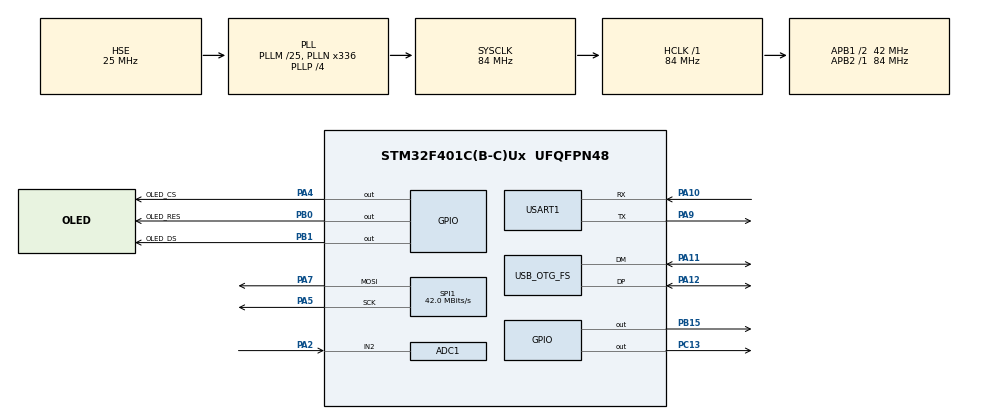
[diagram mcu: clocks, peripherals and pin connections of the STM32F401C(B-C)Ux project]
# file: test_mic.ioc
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ADC1.Channel-0\#ChannelRegularConversion=ADC_CHANNEL_2
ADC1.ClockPrescaler=ADC_CLOCK_SYNC_PCLK_DIV8
ADC1.ContinuousConvMode=DISABLE
ADC1.DMAContinuousRequests=ENABLE
ADC1.ExternalTrigConv=ADC_EXTERNALTRIGCONV_T3_TRGO
ADC1.NbrOfConversionFlag=1
ADC1.Rank-0\#ChannelRegularConversion=1
ADC1.SamplingTime-0\#ChannelRegularConversion=ADC_SAMPLETIME_3CYCLES
ADC1.master=1
Dma.ADC1.0.Direction=DMA_PERIPH_TO_MEMORY
Dma.ADC1.0.FIFOMode=DMA_FIFOMODE_DISABLE
Dma.ADC1.0.Instance=DMA2_Stream0
Dma.ADC1.0.MemDataAlignment=DMA_MDATAALIGN_HALFWORD
Dma.ADC1.0.MemInc=DMA_MINC_ENABLE
Dma.ADC1.0.Mode=DMA_CIRCULAR
Dma.ADC1.0.PeriphDataAlignment=DMA_PDATAALIGN_HALFWORD
Dma.ADC1.0.PeriphInc=DMA_PINC_DISABLE
Dma.ADC1.0.Priority=DMA_PRIORITY_LOW
Dma.Request0=ADC1
Mcu.Family=STM32F4
Mcu.Name=STM32F401C(B-C)Ux
Mcu.Package=UFQFPN48
NVIC.DMA2_Stream0_IRQn=true\:0\:0\:false\:false\:true\:false\:true
NVIC.OTG_FS_IRQn=true\:0\:0\:false\:false\:true\:false\:true
NVIC.PriorityGroup=NVIC_PRIORITYGROUP_4
NVIC.TIM2_IRQn=true\:0\:0\:false\:false\:true\:true\:true
NVIC.USART1_IRQn=true\:0\:0\:false\:false\:true\:true\:true
PA10.Mode=Asynchronous
PA10.Signal=USART1_RX
PA11.Mode=Device_Only
PA11.Signal=USB_OTG_FS_DM
PA12.Mode=Device_Only
PA12.Signal=USB_OTG_FS_DP
PA13.Mode=Serial_Wire
PA13.Signal=SYS_JTMS-SWDIO
PA14.Mode=Serial_Wire
PA14.Signal=SYS_JTCK-SWCLK
PA2.Signal=ADCx_IN2
PA4.GPIO_Label=OLED_CS
PA4.Signal=GPIO_Output
PA5.Mode=TX_Only_Simplex_Unidirect_Master
PA5.Signal=SPI1_SCK
PA7.Mode=TX_Only_Simplex_Unidirect_Master
PA7.Signal=SPI1_MOSI
PA9.Mode=Asynchronous
PA9.Signal=USART1_TX
PB0.GPIO_Label=OLED_RES
PB0.Signal=GPIO_Output
PB1.GPIO_Label=OLED_DS
PB1.Signal=GPIO_Output
PB15.GPIO_PuPd=GPIO_PULLUP
PB15.Signal=GPIO_Output
PC13-ANTI_TAMP.GPIO_PuPd=GPIO_PULLUP
PC13-ANTI_TAMP.Signal=GPIO_Output
PH0\ -\ OSC_IN.Mode=HSE-External-Oscillator
PH0\ -\ OSC_IN.Signal=RCC_OSC_IN
PH1\ -\ OSC_OUT.Mode=HSE-External-Oscillator
PH1\ -\ OSC_OUT.Signal=RCC_OSC_OUT
ProjectManager.HeapSize=0x400
ProjectManager.StackSize=0x400
ProjectManager.TargetToolchain=MDK-ARM V5.32
RCC.48MHZClocksFreq_Value=48000000
RCC.AHBFreq_Value=84000000
RCC.APB1CLKDivider=RCC_HCLK_DIV2
RCC.APB1Freq_Value=42000000
RCC.APB1TimFreq_Value=84000000
RCC.APB2Freq_Value=84000000
RCC.APB2TimFreq_Value=84000000
RCC.CortexFreq_Value=84000000
RCC.HCLKFreq_Value=84000000
RCC.HSE_VALUE=25000000
RCC.HSI_VALUE=16000000
RCC.LSE_VALUE=32768
RCC.PLLM=25
RCC.PLLN=336
RCC.PLLP=RCC_PLLP_DIV4
RCC.PLLQ=7
RCC.SYSCLKFreq_VALUE=84000000
RCC.SYSCLKSource=RCC_SYSCLKSOURCE_PLLCLK
RCC.VCOOutputFreq_Value=336000000
SH.ADCx_IN2.0=ADC1_IN2,IN2
SPI1.CalculateBaudRate=42.0 MBits/s
SPI1.Direction=SPI_DIRECTION_2LINES
SPI1.Mode=SPI_MODE_MASTER
SPI1.VirtualType=VM_MASTER
TIM2.AutoReloadPreload=TIM_AUTORELOAD_PRELOAD_ENABLE
TIM2.Period=9999
TIM2.Prescaler=83
TIM3.AutoReloadPreload=TIM_AUTORELOAD_PRELOAD_DISABLE
TIM3.Period=108
TIM3.Prescaler=0
TIM3.TIM_MasterOutputTrigger=TIM_TRGO_UPDATE
USART1.VirtualMode=VM_ASYNC
USB_DEVICE.CLASS_NAME_FS=AUDIO
USB_DEVICE.VirtualMode=Audio
USB_DEVICE.VirtualModeFS=Audio_FS
USB_OTG_FS.VirtualMode=Device_Only
VP_TIM2_VS_ClockSourceINT.Mode=Internal
VP_TIM3_VS_ClockSourceINT.Mode=Internal
VP_USB_DEVICE_VS_USB_DEVICE_AUDIO_FS.Mode=AUDIO_FS
board=custom

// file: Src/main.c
/* USER CODE BEGIN Header */
/**
  ******************************************************************************
  * @file           : main.c
  * @brief          : Main program body
  ******************************************************************************
  * @attention
  *
  * <h2><center>&copy; Copyright (c) 2024 STMicroelectronics.
  * All rights reserved.</center></h2>
  *
  * This software component is licensed by ST under BSD 3-Clause license,
  * the "License"; You may not use this file except in compliance with the
  * License. You may obtain a copy of the License at:
  *                        opensource.org/licenses/BSD-3-Clause
  *
  ******************************************************************************
  */
/* USER CODE END Header */
#include "main.h"
#include "adc.h"
#include "dma.h"
#include "spi.h"
#include "tim.h"
#include "usart.h"
#include "usb_device.h"
#include "gpio.h"

/* USER CODE BEGIN Includes */

#include "shell_port.h"
#include "u8g2.h"
#include "usbd_audio_if.h"
/* USER CODE END Includes */

/* USER CODE BEGIN PTD */

#include "stdio.h"
#include <stdarg.h>
#ifdef __GNUC__
#define PUTCHAR_PROTOTYPE int fputc(int ch, FILE *f)
#else
#define PUTCHAR_PROTOTYPE int __io_putchar(int ch)
#endif
PUTCHAR_PROTOTYPE
{
HAL_UART_Transmit(&huart1, (uint8_t *)&ch, 1 , 0xffff);
	//CDC_Transmit_FS((uint8_t *)&ch,1);
return ch;
}

uint8_t u8x8_stm32_gpio_and_delay(U8X8_UNUSED u8x8_t *u8x8,
    U8X8_UNUSED uint8_t msg, U8X8_UNUSED uint8_t arg_int,
    U8X8_UNUSED void *arg_ptr);
uint8_t u8x8_byte_4wire_hw_spi(u8x8_t *u8x8, uint8_t msg, uint8_t arg_int,
    void *arg_ptr);

/* USER CODE END PTD */

/* USER CODE BEGIN PD */

#define OSA_BUF_SIZE 16      /* ADC oversampling buffer. Make sure to state the correct
                                shift and offset amount in HAL_ADC_ConvCpltCallback() and
                                adjust the sampling frequency accordingly */
extern USBD_HandleTypeDef hUsbDeviceFS;
int16_t adc_buffer[OSA_BUF_SIZE * AUDIO_IN_PACKET / 2] = {0};

/* USER CODE END PD */

/* USER CODE BEGIN PV */

Shell shell;
uint8_t recv_buf = 0;
u8g2_t u8g2;
uint16_t temp_ADC_Value;
float adc_value ;

int oled_or_usb;

/* USER CODE END PV */

void SystemClock_Config(void);

/* USER CODE BEGIN 0 */

void HAL_ADC_ConvCpltCallback(ADC_HandleTypeDef* hadc) {

	USBD_AUDIO_HandleTypeDef *haudio = hUsbDeviceFS.pClassData;
	int16_t *buf_part = haudio->in_buffer + (AUDIO_IN_PACKET / 2) * haudio->in_buffer_half;  // USB mic buffer access

	/* Oversample for +2 bits */
	for (uint16_t i = 0; i < (AUDIO_IN_PACKET / 2); i++) {
  	int32_t avg_value = 0;
		for (uint16_t j = 0; j < OSA_BUF_SIZE; j++) {
			avg_value += adc_buffer[OSA_BUF_SIZE * i + j];
		}
    // bit shift for signed variables is undefined behaviour
		// Don't forget the mic amp offset: 0-1706, 1-3413, 2-6826
		buf_part[i] = (avg_value / 4) - 6826;

	}

	temp_ADC_Value=(buf_part[0]+6826);
//oled_or_usb=0;

}

void ADC_to_MIC(void)
{
	HAL_ADC_Start_DMA(&hadc1, (uint32_t*)adc_buffer, OSA_BUF_SIZE * (AUDIO_IN_PACKET / 2)); // Start ADC transfer into oversampling buffer
}

int u8g2_printf(u8g2_t *u8g2, u8g2_uint_t x, u8g2_uint_t y, const char *fmt,
...)
{
va_list ap;
va_start(ap, fmt);
int length;
char buffer[128];
length = vsnprintf(buffer, 128, fmt, ap);
u8g2_DrawStr(u8g2, x, y, buffer);
va_end(ap);
return length;
}

void hello(void)
{
    printf("hello letter shell!\n");
}

//导出到命令列表里
SHELL_EXPORT_CMD(SHELL_CMD_PERMISSION(0)|SHELL_CMD_TYPE(SHELL_TYPE_CMD_FUNC), hello, hello, test_hello);

uint8_t map(uint16_t _value)
{
    return 63 - ((_value * 3) >> 10);
}

void timer()
{

	//oled_or_usb=1;
		//HAL_ADC_Start_DMA(&hadc1,(uint32_t*)&temp_ADC_Value, 1);

	   static uint8_t phase = 0;
    static uint16_t waveform[128];
	waveform[phase++] = temp_ADC_Value;

 adc_value=temp_ADC_Value/16384.0f * 3.3f;

    if (phase == 128)
    {

        phase = 0;
			u8g2_FirstPage(&u8g2);
		do
		{
			u8g2_SetFont(&u8g2, u8g2_font_courR08_tf);
			u8g2_printf(&u8g2, 0, 8, "10KAD 7.8FPS V=%.2fV",adc_value);

        for (uint8_t i = 1; i != 128; ++i)
            u8g2_DrawLine(&u8g2, i - 1, map(waveform[i - 1]),i, map(waveform[i]));

			} while (u8g2_NextPage(&u8g2));

    }
}

/* USER CODE END 0 */

int main(void)
{

  /* MCU Configuration--------------------------------------------------------*/

  /* Reset of all peripherals, Initializes the Flash interface and the Systick. */
  HAL_Init();

  /* Configure the system clock */
  SystemClock_Config();

  /* Initialize all configured peripherals */
  MX_GPIO_Init();
  MX_USART1_UART_Init();
  MX_USB_DEVICE_Init();
  MX_SPI1_Init();
  MX_DMA_Init();
  MX_ADC1_Init();
  MX_TIM2_Init();
  MX_TIM3_Init();
  /* USER CODE BEGIN 2 */
  HAL_TIM_Base_Start_IT(&htim2);
  HAL_TIM_Base_Start(&htim3);
	//HAL_TIM_PWM_Start(&htim3,TIM_CHANNEL_1); //启定时器PWM模式
	//HAL_ADC_Start_DMA(&hadc1,(uint32_t*)&temp_ADC_Value, 1);

		//使能串口中断接收
	User_Shell_Init();
	HAL_UART_Receive_IT(&huart1,(uint8_t*)&recv_buf,1);

	u8g2_Setup_ssd1306_128x64_noname_1(&u8g2, U8G2_R0, u8x8_byte_4wire_hw_spi, u8x8_stm32_gpio_and_delay);
	u8g2_InitDisplay(&u8g2);
	u8g2_SetPowerSave(&u8g2, 0);
			u8g2_SetFont(&u8g2, u8g2_font_courR08_tf);

  /* USER CODE END 2 */

  /* Infinite loop */
  while (1)
  {

    /* USER CODE BEGIN 3 */
		//HAL_GPIO_TogglePin(GPIOC,GPIO_PIN_13);
		HAL_GPIO_TogglePin(GPIOB,GPIO_PIN_15);

//		u8g2_FirstPage(&u8g2);
//		do
//		{
//			u8g2_SetFont(&u8g2, u8g2_font_courR18_tf);
//			u8g2_DrawStr(&u8g2, 20, 20, "CAST");
//

//
//		} while (u8g2_NextPage(&u8g2));

				HAL_Delay(200);
  }
  /* USER CODE END 3 */
}

void SystemClock_Config(void)
{
  RCC_OscInitTypeDef RCC_OscInitStruct = {0};
  RCC_ClkInitTypeDef RCC_ClkInitStruct = {0};

  /** Configure the main internal regulator output voltage
  */
  __HAL_RCC_PWR_CLK_ENABLE();
  __HAL_PWR_VOLTAGESCALING_CONFIG(PWR_REGULATOR_VOLTAGE_SCALE2);
  /** Initializes the RCC Oscillators according to the specified parameters
  * in the RCC_OscInitTypeDef structure.
  */
  RCC_OscInitStruct.OscillatorType = RCC_OSCILLATORTYPE_HSE;
  RCC_OscInitStruct.HSEState = RCC_HSE_ON;
  RCC_OscInitStruct.PLL.PLLState = RCC_PLL_ON;
  RCC_OscInitStruct.PLL.PLLSource = RCC_PLLSOURCE_HSE;
  RCC_OscInitStruct.PLL.PLLM = 25;
  RCC_OscInitStruct.PLL.PLLN = 336;
  RCC_OscInitStruct.PLL.PLLP = RCC_PLLP_DIV4;
  RCC_OscInitStruct.PLL.PLLQ = 7;
  if (HAL_RCC_OscConfig(&RCC_OscInitStruct) != HAL_OK)
  {
    Error_Handler();
  }
  /** Initializes the CPU, AHB and APB buses clocks
  */
  RCC_ClkInitStruct.ClockType = RCC_CLOCKTYPE_HCLK|RCC_CLOCKTYPE_SYSCLK
                              |RCC_CLOCKTYPE_PCLK1|RCC_CLOCKTYPE_PCLK2;
  RCC_ClkInitStruct.SYSCLKSource = RCC_SYSCLKSOURCE_PLLCLK;
  RCC_ClkInitStruct.AHBCLKDivider = RCC_SYSCLK_DIV1;
  RCC_ClkInitStruct.APB1CLKDivider = RCC_HCLK_DIV2;
  RCC_ClkInitStruct.APB2CLKDivider = RCC_HCLK_DIV1;

  if (HAL_RCC_ClockConfig(&RCC_ClkInitStruct, FLASH_LATENCY_2) != HAL_OK)
  {
    Error_Handler();
  }
}

/* USER CODE BEGIN 4 */
uint8_t u8x8_stm32_gpio_and_delay(U8X8_UNUSED u8x8_t *u8x8,
    U8X8_UNUSED uint8_t msg, U8X8_UNUSED uint8_t arg_int,
    U8X8_UNUSED void *arg_ptr)
{
  switch (msg)
  {
  case U8X8_MSG_GPIO_AND_DELAY_INIT:
    HAL_Delay(1);
    break;
  case U8X8_MSG_DELAY_MILLI:
    HAL_Delay(arg_int);
    break;
  case U8X8_MSG_GPIO_DC:
    HAL_GPIO_WritePin(OLED_DS_GPIO_Port, OLED_DS_Pin, arg_int);
    break;
  case U8X8_MSG_GPIO_RESET:
    HAL_GPIO_WritePin(OLED_RES_GPIO_Port, OLED_RES_Pin, arg_int);
    break;
  }
  return 1;
}

uint8_t u8x8_byte_4wire_hw_spi(u8x8_t *u8x8, uint8_t msg, uint8_t arg_int,
    void *arg_ptr)
{
  switch (msg)
  {
  case U8X8_MSG_BYTE_SEND:
    HAL_SPI_Transmit(&hspi1, (uint8_t *) arg_ptr, arg_int, HAL_MAX_DELAY);
    break;
  case U8X8_MSG_BYTE_INIT:
    break;
  case U8X8_MSG_BYTE_SET_DC:
    HAL_GPIO_WritePin(OLED_DS_GPIO_Port, OLED_DS_Pin, arg_int);
    break;
  case U8X8_MSG_BYTE_START_TRANSFER:
		HAL_GPIO_WritePin(OLED_CS_GPIO_Port, OLED_CS_Pin, GPIO_PIN_RESET);
    break;
  case U8X8_MSG_BYTE_END_TRANSFER:
		HAL_GPIO_WritePin(OLED_CS_GPIO_Port, OLED_CS_Pin, GPIO_PIN_SET);
    break;
  default:
    return 0;
  }
  return 1;
}

void HAL_UART_RxCpltCallback(UART_HandleTypeDef *huart)
{
    /* 判断是哪个串口触发的中断 */
    if(huart ->Instance == USART1)
    {
        //调用shell处理数据
			  shellHandler(&shell,recv_buf);
        //使能串口中断接收
			  HAL_UART_Receive_IT(&huart1, (uint8_t*)&recv_buf, 1);
    }
}

void HAL_TIM_PeriodElapsedCallback(TIM_HandleTypeDef *htim)
{

    if (htim == (&htim2))
    {

			//printf("begin=%f v\n",temp_ADC_Value/4096.0f*3.3);

	 // HAL_GPIO_TogglePin(GPIOC,GPIO_PIN_13);
    timer();

    }
}

/* USER CODE END 4 */

void Error_Handler(void)
{
  __disable_irq();
  while (1)
  {
  }
}

/************************ (C) COPYRIGHT STMicroelectronics *****END OF FILE****/
